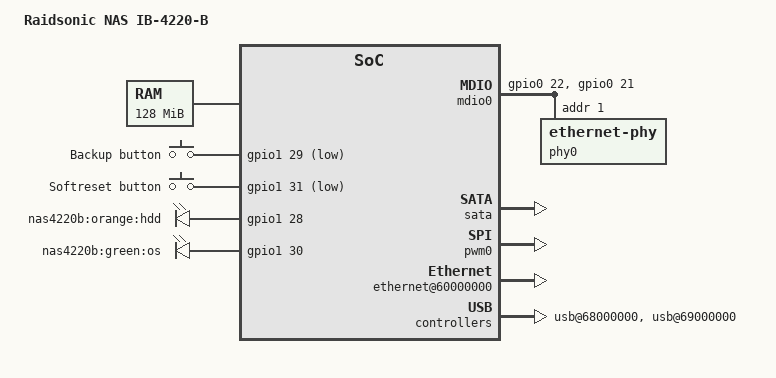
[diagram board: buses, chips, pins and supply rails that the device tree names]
// SPDX-License-Identifier: GPL-2.0
/*
 * Device Tree file for the Gemini-based Raidsonic NAS IB-4220-B
 */

/dts-v1/;

#include "gemini.dtsi"
#include <dt-bindings/input/input.h>
#include <dt-bindings/pwm/pwm.h>
#include <dt-bindings/thermal/thermal.h>

/ {
	model = "Raidsonic NAS IB-4220-B";
	compatible = "raidsonic,ib-4220-b", "cortina,gemini";
	#address-cells = <1>;
	#size-cells = <1>;

	memory@0 { /* 128 MB */
		device_type = "memory";
		reg = <0x00000000 0x8000000>;
	};

	chosen {
		bootargs = "console=ttyS0,19200n8 root=/dev/sda1 rw rootwait";
		stdout-path = &uart0;
	};

	gpio_keys {
		compatible = "gpio-keys";

		button-setup {
			debounce-interval = <100>;
			wakeup-source;
			linux,code = <KEY_SETUP>;
			label = "Backup button";
			/* Conflict with TVC */
			gpios = <&gpio1 29 GPIO_ACTIVE_LOW>;
		};
		button-restart {
			debounce-interval = <100>;
			wakeup-source;
			linux,code = <KEY_RESTART>;
			label = "Softreset button";
			/* Conflict with TVC */
			gpios = <&gpio1 31 GPIO_ACTIVE_LOW>;
		};
	};

	leds {
		compatible = "gpio-leds";
		led-orange-hdd {
			label = "nas4220b:orange:hdd";
			/* Conflict with TVC */
			gpios = <&gpio1 28 GPIO_ACTIVE_HIGH>;
			default-state = "on";
		};
		led-green-os {
			label = "nas4220b:green:os";
			/* Conflict with TVC */
			gpios = <&gpio1 30 GPIO_ACTIVE_HIGH>;
			default-state = "on";
			linux,default-trigger = "heartbeat";
		};
	};

	mdio0: mdio {
		compatible = "virtual,mdio-gpio";
		gpios = <&gpio0 22 GPIO_ACTIVE_HIGH>, /* MDC */
			<&gpio0 21 GPIO_ACTIVE_HIGH>; /* MDIO */
		#address-cells = <1>;
		#size-cells = <0>;

		phy0: ethernet-phy@1 {
			reg = <1>;
			device_type = "ethernet-phy";
		};
	};

	fan0: pwm-fan {
		compatible = "pwm-fan";
		#cooling-cells = <2>;
		/* Period "one millisecond" */
		pwms = <&pwm0 0 10000000 0>;
		cooling-levels = <0 16 32 48 64 80 96 112 127>;
		status = "disabled";
	};

	thermal-zones {
		chassis-thermal {
			/* Poll every 20 seconds */
			polling-delay = <20000>;
			/* Poll every 2nd second when cooling */
			polling-delay-passive = <2000>;
			/*  Use the thermal sensor in the hard drive(s) */
			thermal-sensors = <&drive0>, <&drive1>;

			/* Tripping points from the fan.script in the rootfs */
			trips {
				alert0: chassis-alert-0 {
					/* At 39 degrees turn on the fan */
					temperature = <39000>;
					hysteresis = <1000>;
					type = "active";
				};
				alert1: chassis-alert-1 {
					/* Increase 2 degrees for each bump */
					temperature = <41000>;
					hysteresis = <1000>;
					type = "active";
				};
				alert2: chassis-alert-2 {
					/* Increase 2 degrees for each bump */
					temperature = <43000>;
					hysteresis = <1000>;
					type = "active";
				};
				alert3: chassis-alert-3 {
					/* Increase 2 degrees for each bump */
					temperature = <45000>;
					hysteresis = <1000>;
					type = "active";
				};
				alert4: chassis-alert-4 {
					/* Increase 2 degrees for each bump */
					temperature = <47000>;
					hysteresis = <1000>;
					type = "active";
				};
				alert5: chassis-alert-5 {
					/* Increase 2 degrees for each bump */
					temperature = <49000>;
					hysteresis = <1000>;
					type = "active";
				};
				alert6: chassis-alert-6 {
					/* Increase 2 degrees for each bump */
					temperature = <51000>;
					hysteresis = <1000>;
					type = "active";
				};
				crit: chassis-crit {
					/* Just shut down at 60 degrees */
					temperature = <60000>;
					hysteresis = <2000>;
					type = "critical";
				};
			};

			cooling-maps {
				map0 {
					trip = <&alert0>;
					cooling-device = <&fan0 0 1>;
				};
				map1 {
					trip = <&alert1>;
					cooling-device = <&fan0 1 2>;
				};
				map2 {
					trip = <&alert2>;
					cooling-device = <&fan0 2 3>;
				};
				map3 {
					trip = <&alert3>;
					cooling-device = <&fan0 3 4>;
				};
				map4 {
					trip = <&alert4>;
					cooling-device = <&fan0 4 5>;
				};
				map5 {
					trip = <&alert5>;
					cooling-device = <&fan0 5 6>;
				};
				map6 {
					trip = <&alert6>;
					cooling-device = <&fan0 7 8>;
				};
			};
		};
	};

	soc {
		flash@30000000 {
			status = "okay";
			/* 16MB of flash */
			reg = <0x30000000 0x01000000>;

			partitions {
				compatible = "redboot-fis";
				/* Eraseblock at 0xfe0000 */
				fis-index-block = <0x7f>;
			};
		};

		syscon: syscon@40000000 {
			pinctrl {
				/*
				 * gpio1dgrp cover line 28-31 otherwise used
				 * by TVC.
				 */
				gpio1_default_pins: pinctrl-gpio1 {
					mux {
						function = "gpio1";
						groups = "gpio1dgrp";
					};
				};
				pinctrl-gmii {
					mux {
						function = "gmii";
						groups = "gmii_gmac0_grp";
					};
					/* Settings come from OpenWRT, pins on SL3516 */
					conf0 {
						pins = "V8 GMAC0 RXDV", "T10 GMAC1 RXDV";
						skew-delay = <0>;
					};
					conf1 {
						pins = "Y7 GMAC0 RXC", "Y11 GMAC1 RXC";
						skew-delay = <15>;
					};
					conf2 {
						pins = "T8 GMAC0 TXEN", "W11 GMAC1 TXEN";
						skew-delay = <7>;
					};
					conf3 {
						pins = "U8 GMAC0 TXC";
						skew-delay = <11>;
					};
					conf4 {
						pins = "V11 GMAC1 TXC";
						skew-delay = <10>;
					};
					conf5 {
						/* The data lines all have default skew */
						pins = "W8 GMAC0 RXD0", "V9 GMAC0 RXD1",
						       "Y8 GMAC0 RXD2", "U9 GMAC0 RXD3",
						       "T7 GMAC0 TXD0", "U6 GMAC0 TXD1",
						       "V7 GMAC0 TXD2", "U7 GMAC0 TXD3",
						       "Y12 GMAC1 RXD0", "V12 GMAC1 RXD1",
						       "T11 GMAC1 RXD2", "W12 GMAC1 RXD3",
						       "U10 GMAC1 TXD0", "Y10 GMAC1 TXD1",
						       "W10 GMAC1 TXD2", "T9 GMAC1 TXD3";
						skew-delay = <7>;
					};
					/* Set up drive strength on GMAC0 to 16 mA */
					conf6 {
						groups = "gmii_gmac0_grp";
						drive-strength = <16>;
					};
				};
			};
		};

		sata: sata@46000000 {
			cortina,gemini-ata-muxmode = <0>;
			cortina,gemini-enable-sata-bridge;
			status = "okay";
		};

		pwm0: spi@4a000000 {
			status = "okay";
			#pwm-cells = <3>;
		};

		gpio1: gpio@4e000000 {
			pinctrl-names = "default";
			pinctrl-0 = <&gpio1_default_pins>;
		};

		ethernet@60000000 {
			status = "okay";

			ethernet-port@0 {
				phy-mode = "rgmii";
				phy-handle = <&phy0>;
			};
			ethernet-port@1 {
				/* Not used in this platform */
			};
		};

		ide@63000000 {
			status = "okay";
			drive0: ide-port@0 {
				reg = <0>;
				#thermal-sensor-cells = <0>;
			};
		};

		ide@63400000 {
			status = "okay";
			drive1: ide-port@0 {
				reg = <0>;
				#thermal-sensor-cells = <0>;
			};
		};

		usb@68000000 {
			status = "okay";
		};

		usb@69000000 {
			status = "okay";
		};
	};
};
